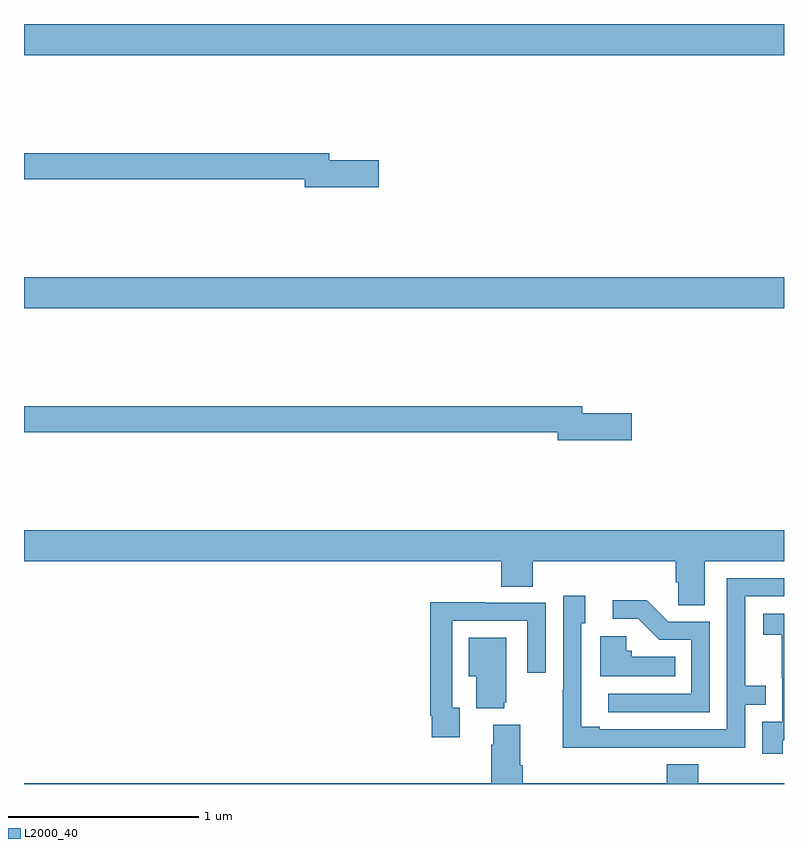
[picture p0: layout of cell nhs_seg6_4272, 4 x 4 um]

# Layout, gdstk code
import gdstk
lib = gdstk.Library(unit=1e-6, precision=1e-09)
def R(c, l, rs):  # rectangles x0, y0, x1, y1
    for r in rs: c.add(gdstk.rectangle(r[:2], r[2:], *l))
def P(c, l, *ps):  # polygons
    for p in ps: c.add(gdstk.Polygon(p, *l))
L2000_40 = (2000, 40)

nhs_seg6_4272 = lib.new_cell('nhs_seg6_4272')
R(nhs_seg6_4272, L2000_40, [(363,946.004,367,946.168), (363,947.336,367,947.5)])
P(nhs_seg6_4272, L2000_40, [(364.867,946.784),(364.606,946.784),(364.606,946.82),(363,946.82),(363,946.684),(364.478,946.684),(364.478,946.642),(364.867,946.642)],
  [(366.199,945.452),(365.938,945.452),(365.938,945.488),(363,945.488),(363,945.352),(365.81,945.352),(365.81,945.31),(366.199,945.31)],
  [(366.583,944.672),(367,944.672),(367,944.836),(363,944.836),(363,944.672),(365.513,944.672),(365.513,944.539),(365.678,944.539),(365.678,944.672),(366.431,944.672),(366.431,944.563),(366.444,944.563),(366.444,944.44),(366.583,944.44)],
  [(366.299,943.692),(366.795,943.692),(366.795,943.917),(366.905,943.917),(366.905,944.018),(366.795,944.018),(366.795,944.487),(367,944.487),(367,944.583),(366.699,944.583),(366.699,943.788),(366.031,943.788),(366.031,943.801),(365.934,943.801),(365.934,944.346),(365.953,944.346),(365.953,944.491),(365.838,944.491),(365.838,943.997),(365.836,943.997),(365.836,943.691),(366.299,943.691)],
  [(366.609,944.355),(366.39,944.355),(366.277,944.468),(366.099,944.468),(366.099,944.37),(366.233,944.37),(366.344,944.259),(366.513,944.259),(366.513,943.974),(366.075,943.974),(366.075,943.878),(366.609,943.878)],
  [(365.293,943.902),(365.253,943.902),(365.253,944.358),(365.649,944.358),(365.649,944.085),(365.745,944.085),(365.745,944.454),(365.429,944.454),(365.429,944.456),(365.137,944.456),(365.137,943.858),(365.145,943.858),(365.145,943.746),(365.293,943.746)],
  [(366.994,943.729),(367,943.729),(367,944.395),(366.891,944.395),(366.891,944.285),(366.989,944.285),(366.989,944.057),(366.99,944.057),(366.99,943.827),(366.885,943.827),(366.885,943.659),(366.994,943.659)],
  [(366.428,944.17),(366.198,944.17),(366.198,944.202),(366.171,944.202),(366.171,944.278),(366.032,944.278),(366.032,944.066),(366.428,944.066)],
  [(365.528,943.929),(365.539,943.929),(365.539,944.269),(365.342,944.269),(365.342,944.066),(365.381,944.066),(365.381,943.898),(365.528,943.898)],
  [(367,943.504),(366.548,943.504),(366.548,943.603),(366.383,943.603),(366.383,943.504),(365.624,943.504),(365.624,943.6),(365.611,943.6),(365.611,943.813),(365.471,943.813),(365.471,943.706),(365.459,943.706),(365.459,943.504),(363,943.504),(363,943.5),(367,943.5)])

lib.write_gds('nhs_seg6_4272.gds')
